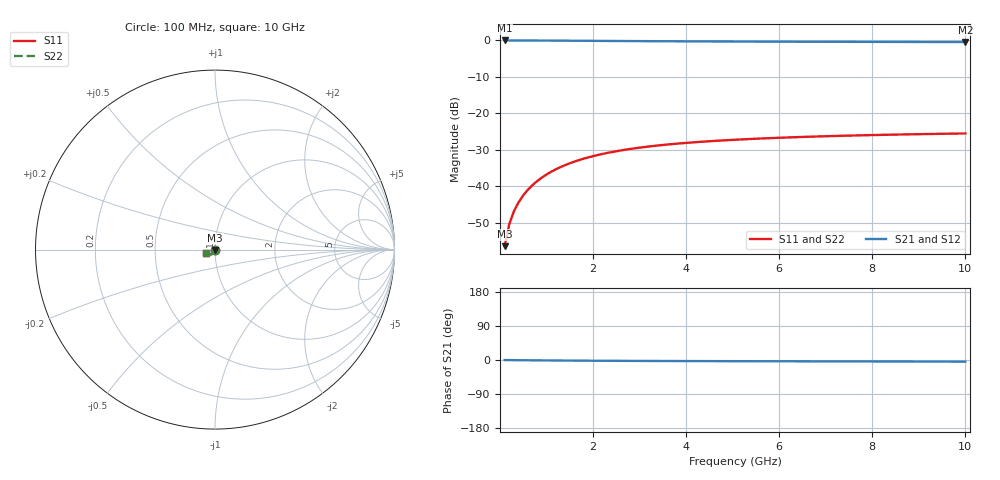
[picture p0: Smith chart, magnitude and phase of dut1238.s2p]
! Touchstone file exported from HFSS 2024.1.0
!  File:  C:/UserFiles/LocalFiles/RDL_TSV_Batchsim/temp_TSV1_1238_1780251139.aedt
!  Generated:  02:16:41 AM Jun  1, 2026
!  Design:  TSV1
!  Project:  temp_TSV1_1238_1780251139
!  Setup:  Setup1
!  Solution:  Sweep
! Variables:
!  dtsv = 14.82um
!  hbump = 3um
!  htsv = 62.84um
!  lrdl = 252.1521522um
!  p = 40
!  p1 = 47.58um
!  t = 500um
!  trdl = 3um
!  wrdl = 24.89489489um
# GHz S MA R 50.000000
! Terminal data exported
! Port[1] = TSV22_T1
! Port[2] = TSV22_T2
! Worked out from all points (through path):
!   100 points, 100 MHz to 10 GHz, reference 50 ohm
!   highest |S21| = 0.00 dB at 100 MHz (marker M1); lowest = -0.4 dB at 10 GHz (marker M2)
!   lowest |S11| = -56.5 dB at 100 MHz (marker M3), VSWR 1.00, Z = 50 - j0.15 ohm
!   |S11| at or under -10 dB: start of sweep to end of sweep
!   |S22| runs from -56.5 to -25.5 dB; largest |S21 - S12| = 3.1e-15
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0.1  0.001501 -88.9  0.9999 -0.1  0.9999 -0.1  0.001501 -88.9
! Gamma 0 0 0 0
! Port Impedance 50 0 50 0
0.2  0.003015 -92.0  0.9997 -0.2  0.9997 -0.2  0.003015 -92.0
0.3  0.004517 -94.1  0.9995 -0.4  0.9995 -0.4  0.004517 -94.1
0.4  0.006006 -96.0  0.9992 -0.5  0.9992 -0.5  0.006006 -96.0
0.5  0.007477 -97.7  0.9988 -0.6  0.9988 -0.6  0.007477 -97.7
0.6  0.008927 -99.4  0.9983 -0.7  0.9983 -0.7  0.008927 -99.4
0.7  0.01035 -101.1  0.9978 -0.8  0.9978 -0.8  0.01035 -101.1
0.8  0.01175 -102.7  0.9972 -0.9  0.9972 -0.9  0.01175 -102.7
0.9  0.01312 -104.3  0.9965 -1.0  0.9965 -1.0  0.01312 -104.3
1.1  0.01577 -107.3  0.9951 -1.2  0.9951 -1.2  0.01577 -107.3
1.4  0.01946 -111.6  0.9926 -1.5  0.9926 -1.5  0.01946 -111.6
1.6  0.02174 -114.3  0.9908 -1.6  0.9908 -1.6  0.02174 -114.3
1.8  0.02386 -116.8  0.989 -1.8  0.989 -1.8  0.02386 -116.8
2.1  0.02677 -120.3  0.9863 -2.0  0.9863 -2.0  0.02677 -120.3
2.5  0.03018 -124.5  0.9828 -2.2  0.9828 -2.2  0.03018 -124.5
2.9  0.0331 -128.2  0.9796 -2.4  0.9796 -2.4  0.0331 -128.2
3.4  0.0362 -132.1  0.9758 -2.6  0.9758 -2.6  0.0362 -132.1
4.2  0.04014 -137.4  0.9706 -2.9  0.9706 -2.9  0.04014 -137.4
5.1  0.04353 -142.0  0.9658 -3.1  0.9658 -3.1  0.04353 -142.0
6.7  0.04783 -148.2  0.9594 -3.5  0.9594 -3.5  0.04783 -148.2
8.4  0.05089 -152.9  0.9547 -4.0  0.9547 -4.0  0.05089 -152.9
10  0.05292 -156.4  0.9515 -4.3  0.9515 -4.3  0.05292 -156.4
